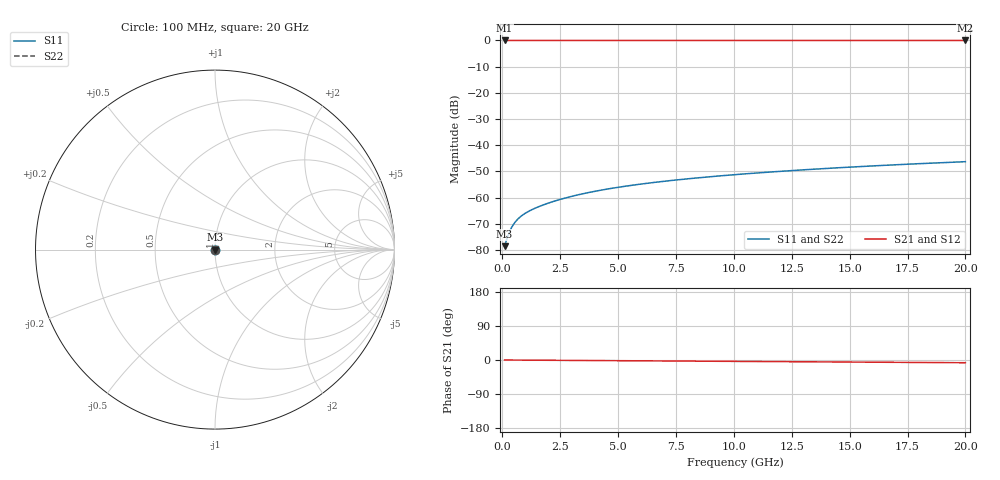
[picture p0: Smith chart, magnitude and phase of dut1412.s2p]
! Touchstone file exported from HFSS 2026.1.0
!  File:  C:/ffzhzh/LocalFiles/Ansys_Project_Files/temp_train_TSV_1412_1783197097_55132.aedt
!  Generated:  04:33:00 AM Jul  5, 2026
!  Design:  TSV
!  Project:  temp_train_TSV_1412_1783197097_55132
! Variables:
!  h_bsmrdl = 2um
!  h_ox = 20um
!  h_rdl = 5um
!  h_sub = 70.34um
!  h_tmrdl = 5um
!  h_tsv = 70.34um
!  h_via = 3um
!  l_bsmrdl = 300um
!  l_sub = 422.02um
!  l_tmrdl = 200um
!  m_sub = 200um
!  pitch = 45.88um
!  r_tsv = 11.01um
!  s_tmrdl = 10um
!  w_bsmrdl = 18um
!  w_sub = 500um
!  w_tmrdl = 12um
!  x_tsv_center1 = 206um
!  x_tsv_center2 = 524um
!  x_tsv_center3 = 736um
!  x_tsv_center4 = 1054um
!  x_tsv_center5 = 1266um
!  x_tsv_center6 = 1584um
# GHz S MA R 50.000000
! Terminal data exported
! Port[1] = TSV1_1_T1
! Port[2] = TSV1_1_T2
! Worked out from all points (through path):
!   200 points, 100 MHz to 20 GHz, reference 50 ohm
!   highest |S21| = 0.00 dB at 100 MHz (marker M1); lowest = 0.0 dB at 20 GHz (marker M2)
!   lowest |S11| = -78.6 dB at 100 MHz (marker M3), VSWR 1.00, Z = 50 + j0.00614 ohm
!   |S11| at or under -10 dB: start of sweep to end of sweep
!   |S22| runs from -78.6 to -46.3 dB; largest |S21 - S12| = 3.2e-15
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0.1  0.0001177 31.4  0.9999 -0.0  0.9999 -0.0  0.0001177 31.4
! Gamma 0 0 0 0
! Port Impedance 50 0 50 0
0.2  0.0001638 47.1  0.9999 -0.1  0.9999 -0.1  0.0001638 47.1
0.3  0.000216 53.7  0.9999 -0.1  0.9999 -0.1  0.000216 53.7
0.4  0.0002672 56.5  0.9999 -0.2  0.9999 -0.2  0.0002672 56.5
0.5  0.000315 57.7  0.9998 -0.2  0.9998 -0.2  0.000315 57.7
0.6  0.0003588 58.1  0.9998 -0.2  0.9998 -0.2  0.0003588 58.1
0.7  0.0003989 58.4  0.9998 -0.3  0.9998 -0.3  0.0003989 58.4
0.9  0.0004703 58.7  0.9998 -0.3  0.9998 -0.3  0.0004703 58.7
1.1  0.0005337 59.2  0.9997 -0.4  0.9997 -0.4  0.0005337 59.2
1.3  0.0005925 59.9  0.9997 -0.5  0.9997 -0.5  0.0005925 59.9
1.6  0.0006765 61.1  0.9997 -0.6  0.9997 -0.6  0.0006765 61.1
1.9  0.0007584 62.3  0.9997 -0.7  0.9997 -0.7  0.0007584 62.3
2.6  0.0009471 64.6  0.9996 -1.0  0.9996 -1.0  0.0009471 64.6
3.5  0.001186 66.5  0.9995 -1.3  0.9995 -1.3  0.001186 66.5
4.2  0.001366 67.4  0.9995 -1.5  0.9995 -1.5  0.001366 67.4
5  0.001567 68.1  0.9995 -1.8  0.9995 -1.8  0.001567 68.1
6.8  0.001998 69.1  0.9994 -2.5  0.9994 -2.5  0.001998 69.1
8.3  0.002343 69.6  0.9993 -3.0  0.9993 -3.0  0.002343 69.6
10.1  0.002746 70.0  0.9992 -3.7  0.9992 -3.7  0.002746 70.0
13.4  0.003464 70.4  0.9991 -4.8  0.9991 -4.8  0.003464 70.4
16.7  0.004162 70.2  0.999 -6.0  0.999 -6.0  0.004162 70.2
20  0.004834 69.8  0.9989 -7.2  0.9989 -7.2  0.004834 69.8
